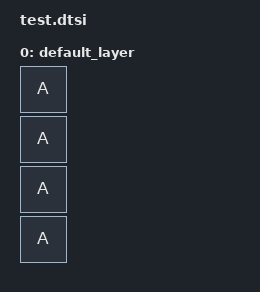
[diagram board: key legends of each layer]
#include <physical_layouts.dtsi>
#include <dt-bindings/zmk/matrix_transform.h>
/ {
	physical_layout: physical_layout {
		compatible = "zmk,physical-layout";
		display-name = "Custom Layout";
		keys
		= <&key_physical_attrs 100 100    0    0      0    0    0>
		, <&key_physical_attrs 100 100    0  100      0    0    0>
		, <&key_physical_attrs 100 100    0  200      0    0    0>
		, <&key_physical_attrs 100 100    0  300      0    0    0>
		;
		transform = <&transform0>;
	};
	transform0: transform0 {
		compatible = "zmk,matrix-transform";
		columns = <2>;
		rows = <2>;
		map = <
		RC(0,0)  RC(0,1)  RC(1,0)  RC(1, 1)
		>;
	};

	trackball0: trackball0 {
		compatible = "zmk,physical-layout-trackball";
		display-name = "Primary Trackball";
		size = <120>;
		x = <425>;
		y = <125>;
		r = <150>;
		rx = <485>;
		ry = <185>;
		linked-device-identifiers = "trackball_sensor", "trackball_button";
		linked-subsystems = "zmk__trackball", "zmk__pointing_buttons";
	};

	rotary_encoders0: rotary_encoders0 {
		compatible = "zmk,physical-layout-rotary-encoders";
		display-name = "Rotary Encoders";
		encoders = <&encoder0 &encoder1>;
	};

	encoder0: encoder0 {
		compatible = "zmk,physical-layout-rotary-encoder";
		size = <120>;
		x = <600>;
		y = <80>;
		r = <450>;
		rx = <660>;
		ry = <140>;
	};

	encoder1: encoder1 {
		compatible = "zmk,physical-layout-rotary-encoder";
		status = "disabled";
		size = <120>;
		x = <720>;
		y = <80>;
	};

	touchpad0: touchpad0 {
		compatible = "zmk,physical-layout-touch-pad";
		display-name = "Touch Pad";
		width = <240>;
		height = <180>;
		x = <625>;
		y = <180>;
		r = <0>;
		rx = <0>;
		ry = <0>;
		linked-device-identifiers = "touchpad_input";
		linked-subsystems = "zmk__touch_pad";
	};

	custom_module0: custom_module0 {
		compatible = "zmk,physical-layout-custom-module";
		display-name = "Status Display";
		type = "display";
		width = <220>;
		height = <80>;
		x = <160>;
		y = <40>;
		linked-device-identifiers = "status_display";
		linked-subsystems = "zmk__display";
	};
};

#include <dt-bindings/zmk/keys.h>
#include <behaviors.dtsi>
#include <dt-bindings/zmk/kscan_mock.h>

/ {
	keymap {
		compatible = "zmk,keymap";

		default_layer {
			bindings = <
			&kp A
			&kp A
			&kp A
			&kp A
			>;
		};
	};
};

&kscan {
	events = <
	ZMK_MOCK_PRESS(0,0,10)
	ZMK_MOCK_RELEASE(0,0,10)
	ZMK_MOCK_PRESS(0,0,10)
	ZMK_MOCK_RELEASE(0,0,10)
	>;
};
